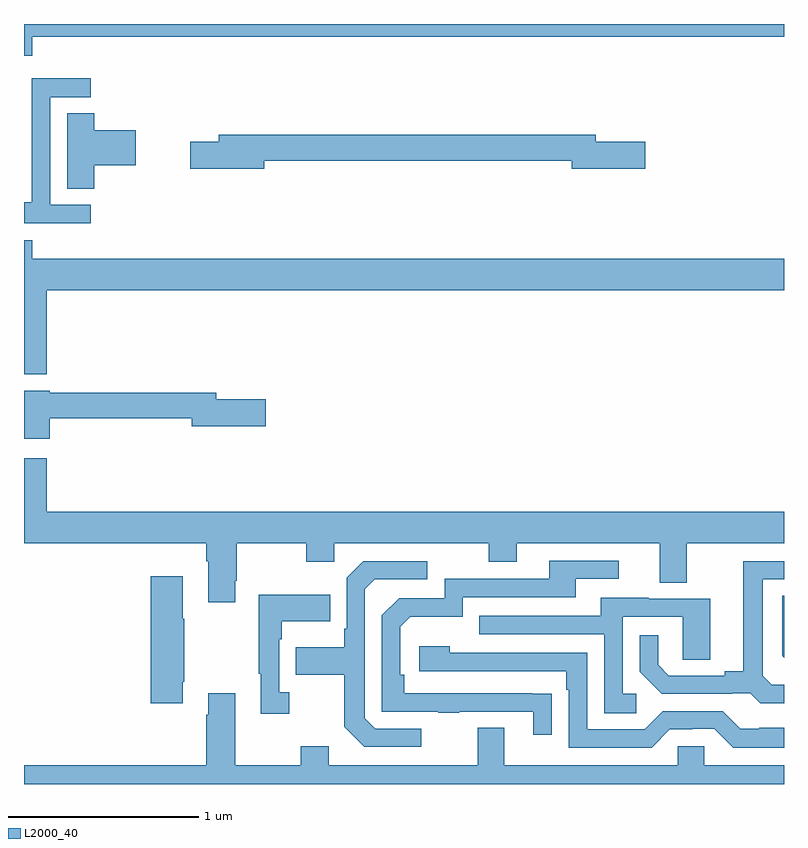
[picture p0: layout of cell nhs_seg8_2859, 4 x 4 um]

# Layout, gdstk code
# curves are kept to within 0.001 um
import gdstk
lib = gdstk.Library(unit=1e-6, precision=1e-09)
def P(c, l, *ps):  # polygons
    for p in ps: c.add(gdstk.Polygon(p, *l))
L2000_40 = (2000, 40)

nhs_seg8_2859 = lib.new_cell('nhs_seg8_2859')
P(nhs_seg8_2859, L2000_40, [(291.044,1117.832),(295,1117.832),(295,1117.9),(291,1117.9),(291,1117.733),(291.044,1117.733)],
  [(291.352,1116.948),(291.138,1116.948),(291.138,1117.515),(291.352,1117.515),(291.352,1117.614),(291.042,1117.614),(291.042,1117.184),(291.04,1117.184),(291.04,1116.961),(291,1116.961),(291,1116.852),(291.352,1116.852)],
  [(291.371,1117.157),(291.589,1117.157),(291.589,1117.34),(291.371,1117.34),(291.371,1117.43),(291.227,1117.43),(291.227,1117.033),(291.371,1117.033)],
  [(292.264,1117.18),(293.882,1117.18),(293.882,1117.138),(294.271,1117.138),(294.271,1117.28),(294.01,1117.28),(294.01,1117.316),(292.025,1117.316),(292.025,1117.28),(291.876,1117.28),(291.876,1117.138),(292.264,1117.138)],
  [(291.121,1116.5),(295,1116.5),(295,1116.664),(291.044,1116.664),(291.044,1116.763),(291,1116.763),(291,1116.056),(291.121,1116.056)],
  [(291.136,1115.824),(291.884,1115.824),(291.884,1115.782),(292.273,1115.782),(292.273,1115.924),(292.012,1115.924),(292.012,1115.96),(291.136,1115.96),(291.136,1115.971),(291,1115.971),(291,1115.717),(291.136,1115.717)],
  [(292.111,1114.969),(292.119,1114.969),(292.119,1115.168),(292.486,1115.168),(292.486,1115.069),(292.632,1115.069),(292.632,1115.168),(293.446,1115.168),(293.446,1115.069),(293.593,1115.069),(293.593,1115.168),(294.347,1115.168),(294.347,1114.96),(294.487,1114.96),(294.487,1115.168),(295,1115.168),(295,1115.332),(291.121,1115.332),(291.121,1115.614),(291,1115.614),(291,1115.168),(291.959,1115.168),(291.959,1115.072),(291.971,1115.072),(291.971,1114.857),(292.111,1114.857)],
  [(293.777,1114.376),(293,1114.377),(293,1114.474),(292.98,1114.474),(292.98,1114.728),(293.033,1114.781),(293.31,1114.781),(293.31,1114.884),(293.905,1114.884),(293.905,1114.98),(294.13,1114.98),(294.13,1115.076),(293.765,1115.076),(293.765,1114.98),(293.214,1114.98),(293.214,1114.878),(292.974,1114.878),(292.884,1114.788),(292.884,1114.281),(293.179,1114.281),(293.179,1114.276),(293.291,1114.276),(293.291,1114.281),(293.681,1114.281),(293.681,1114.158),(293.777,1114.158)],
  [(295,1114.422),(294.936,1114.422),(294.889,1114.469),(294.889,1114.977),(295,1114.977),(295,1115.073),(294.785,1115.073),(294.785,1114.493),(294.689,1114.493),(294.689,1114.47),(294.394,1114.47),(294.337,1114.527),(294.337,1114.684),(294.24,1114.684),(294.24,1114.49),(294.356,1114.374),(294.728,1114.374),(294.728,1114.377),(294.822,1114.377),(294.874,1114.325),(295,1114.325)],
  [(293.092,1114.191),(292.848,1114.191),(292.794,1114.245),(292.794,1114.926),(292.845,1114.977),(293.122,1114.977),(293.122,1115.073),(292.785,1115.073),(292.698,1114.986),(292.698,1114.717),(292.686,1114.717),(292.686,1114.621),(292.429,1114.621),(292.429,1114.474),(292.686,1114.474),(292.686,1114.201),(292.791,1114.095),(293.092,1114.095)],
  [(291.835,1114.438),(291.843,1114.438),(291.843,1114.769),(291.835,1114.769),(291.835,1114.993),(291.668,1114.993),(291.668,1114.326),(291.835,1114.326)],
  [(292.396,1114.382),(292.344,1114.382),(292.344,1114.661),(292.357,1114.661),(292.357,1114.757),(292.613,1114.757),(292.613,1114.897),(292.236,1114.897),(292.236,1114.481),(292.247,1114.481),(292.247,1114.269),(292.396,1114.269)],
  [(295,1114.892),(294.99,1114.892),(294.99,1114.574),(295,1114.564)],
  [(294.223,1114.374),(294.15,1114.374),(294.15,1114.779),(294.468,1114.779),(294.468,1114.555),(294.613,1114.555),(294.613,1114.875),(294.289,1114.875),(294.289,1114.879),(294.035,1114.879),(294.035,1114.785),(293.395,1114.785),(293.395,1114.689),(294.054,1114.689),(294.054,1114.273),(294.223,1114.273)],
  [(295,1114.195),(294.871,1114.195),(294.871,1114.191),(294.771,1114.191),(294.678,1114.284),(294.363,1114.284),(294.267,1114.188),(293.964,1114.188),(293.964,1114.59),(293.24,1114.59),(293.24,1114.624),(293.079,1114.624),(293.079,1114.494),(293.855,1114.494),(293.855,1114.397),(293.868,1114.397),(293.868,1114.092),(294.303,1114.092),(294.399,1114.188),(294.518,1114.188),(294.518,1114.191),(294.633,1114.191),(294.733,1114.091),(295,1114.091)],
  [(295,1114),(294.579,1114),(294.579,1114.098),(294.441,1114.098),(294.441,1114),(293.527,1114),(293.527,1114.195),(293.387,1114.195),(293.387,1114),(292.603,1114),(292.603,1114.099),(292.456,1114.099),(292.456,1114),(292.111,1114),(292.111,1114.378),(291.971,1114.378),(291.971,1114.265),(291.959,1114.265),(291.959,1114),(291,1114),(291,1113.9),(295,1113.9)])

lib.write_gds('nhs_seg8_2859.gds')
